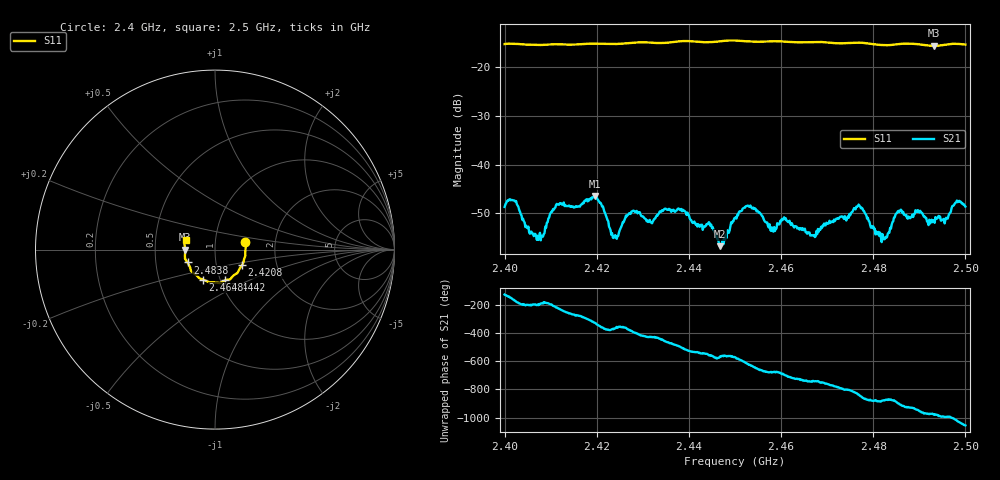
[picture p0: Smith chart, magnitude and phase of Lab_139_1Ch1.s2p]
# Hz S RI R 50
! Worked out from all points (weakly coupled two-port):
!   601 points, 2.4 GHz to 2.5 GHz, reference 50 ohm
!   highest |S21| = -46.48 dB at 2.4197 GHz (marker M1); lowest = -56.8 dB at 2.4467 GHz (marker M2)
!   lowest |S11| = -15.6 dB at 2.4932 GHz (marker M3), VSWR 1.40, Z = 35.8 - j0.0678 ohm
!   |S11| at or under -10 dB: start of sweep to end of sweep
!   S12 and S22 are empty: the file has one direction only
!   S11 on the Smith chart (normalised r, x): 2.4 GHz: 1.40, +0.12; 2.4208 GHz: 1.33, -0.24; 2.4442 GHz: 1.05, -0.37; 2.4648 GHz: 0.83, -0.29; 2.4838 GHz: 0.73, -0.11; 2.5 GHz: 0.72, +0.08
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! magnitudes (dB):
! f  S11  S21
! 2.4 GHz  -15.2  -48.7
! 2.4022 GHz  -15.2  -47.4
! 2.4073 GHz  -15.4  -55.5
! 2.4117 GHz  -15.3  -48.3
! 2.4167 GHz  -15.2  -48.2
! 2.4197 GHz  -15.2  -46.5
! 2.4208 GHz  -15.2  -47.9
! 2.424 GHz  -15.2  -54.5
! 2.4275 GHz  -15.0  -49.7
! 2.4333 GHz  -15.0  -50.2
! 2.4442 GHz  -14.9  -52.2
! 2.4467 GHz  -14.7  -56.8
! 2.45 GHz  -14.5  -51.0
! 2.453 GHz  -14.7  -48.6
! 2.4648 GHz  -14.9  -53.5
! 2.4667 GHz  -14.8  -54.6
! 2.4768 GHz  -15.0  -48.2
! 2.4833 GHz  -15.5  -54.0
! 2.4838 GHz  -15.4  -53.2
! 2.4857 GHz  -15.2  -49.7
! 2.4932 GHz  -15.6  -51.4
! 2.5 GHz  -15.4  -48.6
